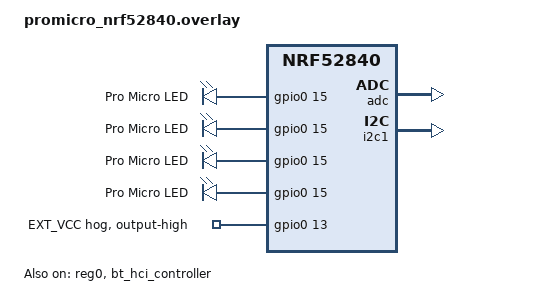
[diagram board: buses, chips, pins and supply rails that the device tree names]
/* Joypad — Pro Micro nRF52840 (nice!nano and compatible boards) devicetree overlay
 *
 * Built as the upstream Zephyr board `nrf52840dongle/nrf52840` + this overlay
 * (see nrf/Makefile ZEPHYR_BOARD mapping for BOARD=promicro_nrf52840).
 *
 * Bootloader: Adafruit nRF52 UF2 (double-tap reset, NICENANO / SUPERMINI drive).
 * Flashing the first UF2 replaces the factory SoftDevice, after which the
 * bootloader reports "SoftDevice: not found" and starts the app at 0x1000.
 *
 * The upstream dongle dts claims pins for its own peripherals (UART on
 * P0.20/17/24/22, I2C on P0.26/27, PWM on P0.08/P1.09/P0.12). On the Pro Micro
 * those are header pins that a controller wires buttons to, so each one is
 * moved here to where this board actually exposes the function:
 *   UART console   TX = D0 (P0.06), RX = D1 (P0.08), no flow control
 *   I2C bus 0      SDA = D6 (P1.00), SCL = D7 (P0.11)  (web config "I2C0")
 *   I2C bus 1      SDA = D13 (P1.13), SCL = D14 (P1.15) (web config "I2C1")
 *   status LED     P0.15, blue, active HIGH
 *   EXT_VCC        P0.13, driven HIGH at boot so the VCC pin (3.3V out to
 *                  JoyWing and other peripherals) is powered. This is the
 *                  nice!nano v2 polarity (ZMK: GPIO_ACTIVE_HIGH), also used
 *                  by SuperMini clones. nice!nano v1 is inverted (active low)
 *                  and is not supported by this target.
 * Pin facts from the board's published pinout and the nice!nano/ZMK/SlimeVR
 * board definitions.
 *
 * TinyUSB drives the USB hardware directly, so Zephyr's USBD node is disabled.
 */

&usbd {
	status = "disabled";
};

/* The upstream dongle's console is a USB CDC node hanging off zephyr_udc0, which
 * the line above removes -- leaving zephyr,console pointing at a device that no
 * longer exists (link fails on an undefined __device_dts_ord_*). Point it at the
 * real UART instead, as the other dongle overlays here do. */
/ {
	chosen {
		zephyr,console = &uart0;
		zephyr,shell-uart = &uart0;
	};
};

/* Single LED on P0.15 (active high). The upstream dongle dts describes one
 * green LED plus an RGB; point every channel at the one LED this board has so
 * any consumer of the colour nodes still resolves. */
&led0_green {
	gpios = <&gpio0 15 GPIO_ACTIVE_HIGH>;
	label = "Pro Micro LED";
};

&led1_red {
	gpios = <&gpio0 15 GPIO_ACTIVE_HIGH>;
	label = "Pro Micro LED";
};

&led1_green {
	gpios = <&gpio0 15 GPIO_ACTIVE_HIGH>;
	label = "Pro Micro LED";
};

&led1_blue {
	gpios = <&gpio0 15 GPIO_ACTIVE_HIGH>;
	label = "Pro Micro LED";
};

/* UART console on the Pro Micro's dedicated TX/RX pins instead of the dongle's
 * D2-D5 pins (including RTS/CTS, which would otherwise be driven). */
&uart0_default {
	group1 {
		psels = <NRF_PSEL(UART_TX, 0, 6)>;
	};
	group2 {
		psels = <NRF_PSEL(UART_RX, 0, 8)>;
		bias-pull-up;
	};
};

&uart0_sleep {
	group1 {
		psels = <NRF_PSEL(UART_TX, 0, 6)>,
			<NRF_PSEL(UART_RX, 0, 8)>;
		low-power-enable;
	};
};

/* I2C bus 0 on D6 (SDA, P1.00) / D7 (SCL, P0.11). Internal pull-ups are added
 * in case the attached breakout has none. */
&i2c0_default {
	group1 {
		psels = <NRF_PSEL(TWIM_SDA, 1, 0)>,
			<NRF_PSEL(TWIM_SCL, 0, 11)>;
		bias-pull-up;
	};
};

&i2c0_sleep {
	group1 {
		psels = <NRF_PSEL(TWIM_SDA, 1, 0)>,
			<NRF_PSEL(TWIM_SCL, 0, 11)>;
		low-power-enable;
	};
};

/* The dongle's PWM RGB LED output would claim P0.08, P1.09 and P0.12 at init
 * even though nothing uses it, which fights the RX pin and any pad GPIO. */
&pwm0 {
	status = "disabled";
};

/* EXT_VCC (P0.13): on nice!nano v2 and SuperMini, HIGH switches the VCC pin
 * on (ZMK nice_nano 2.0.0 overlay: control-gpios GPIO_ACTIVE_HIGH). */
&gpio0 {
	ext_vcc_enable: ext-vcc-enable {
		gpio-hog;
		gpios = <13 GPIO_ACTIVE_HIGH>;
		output-high;
		line-name = "EXT_VCC";
	};
};

/* SAADC — platform_gpio_nrf.c compiles DT_NODELABEL(adc) whenever CONFIG_ADC
 * is on (prj.conf), and the upstream dts leaves the node disabled. */
&adc {
	status = "okay";
};

/* I2C bus 1 on the board's SDA1 / SCL1 pads: D13 (SDA, P1.13) / D14 (SCL,
 * P1.15). The bt2usb display probe pings i2c1 at boot on non-Feather boards;
 * internal pull-ups keep that probe from hanging on an empty bus (a NACK
 * returns at once), as on the Makerdiary overlay. */
&i2c1 {
	status = "okay";
};

&i2c1_default {
	group1 {
		psels = <NRF_PSEL(TWIM_SDA, 1, 13)>,
			<NRF_PSEL(TWIM_SCL, 1, 15)>;
		bias-pull-up;
	};
};

&i2c1_sleep {
	group1 {
		psels = <NRF_PSEL(TWIM_SDA, 1, 13)>,
			<NRF_PSEL(TWIM_SCL, 1, 15)>;
		low-power-enable;
	};
};

/* Brownout fix, as on the Makerdiary MDK dongle. This board is USB-5V powered in
 * high-voltage mode (VDDH -> internal REG0 -> VDD) and the upstream dts enables
 * DCDC only on REG1, leaving REG0 -- the stage carrying the whole 5V->3.3V load
 * -- in LDO mode, where it collapses VDD under sustained radio load.
 *
 * The observed failure here matches that exactly: the board resets endlessly with
 * NO fault crumb and noinit RAM wiped, which is a POR (brownout), not a CPU
 * fault -- so the safe-boot path never engages and USB never enumerates.
 * mouthpad-usb does not set this on the same dongle, but it is not driving this
 * radio load, so that is not evidence against it.
 */
&reg0 {
	status = "okay";
};

/* UF2 / no-SoftDevice flash layout (code at 0x1000). The upstream dongle dts
 * uses the Nordic bootloader partitions — replace them.
 *
 * Sizes from the hardware-verified mouthpad-usb map for this dongle: code
 * 0x1000-0xEE000, storage 0xEE000-0xFE000 (64 kB), and the MBR params page at
 * 0xFE000 deliberately left outside our partitions. Getting this wrong does not
 * fail loudly — NVS lands on bootloader flash and bonds/settings corrupt.
 */
/delete-node/ &boot_partition;
/delete-node/ &slot0_partition;
/delete-node/ &slot1_partition;
/delete-node/ &storage_partition;

&flash0 {
	partitions {
		compatible = "fixed-partitions";
		#address-cells = <1>;
		#size-cells = <1>;

		/* Adafruit UF2 bootloader MBR */
		boot_partition: partition@0 {
			label = "adafruit_boot";
			reg = <0x00000000 0x00001000>;
		};

		/* Application code, immediately after the MBR (no SoftDevice) */
		code_partition: partition@1000 {
			label = "code_partition";
			reg = <0x00001000 0x000ed000>;
		};

		/* Settings/bonds storage (64 kB), ending before the MBR params page */
		storage_partition: partition@ee000 {
			label = "storage";
			reg = <0x000ee000 0x00010000>;
		};
	};
};

/ {
	chosen {
		zephyr,code-partition = &code_partition;
		zephyr,settings-partition = &storage_partition;
	};
};

/* Zephyr open-source link layer instead of Nordic's SoftDevice Controller: the
 * closed controller refuses the Switch 2's 5 ms connection interval, and the
 * open one is patchable (see nrf/patches). Selecting it needs this chosen node,
 * not just CONFIG_BT_LL_SW_SPLIT. */
&bt_hci_sdc { status = "disabled"; };
&bt_hci_controller { status = "okay"; };
/ { chosen { zephyr,bt-hci = &bt_hci_controller; }; };
